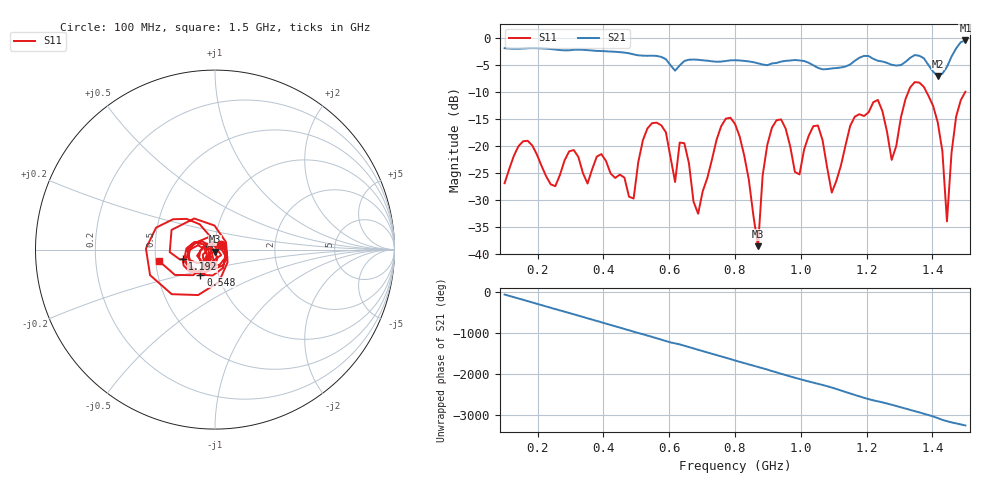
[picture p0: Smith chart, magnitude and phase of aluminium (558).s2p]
! NanoVNA-App
! Date: 2025-09-25 14:59:37
! Start: 100MHz Stop: 1,5GHz Points: 101
! S-Parameter data: F S11 S21 S12 S22
# Hz S RI R 50
!  Frequency  S11_Real  S11_Imag  S21_Real  S21_Imag  S12_Real  S12_Imag  S22_Real  S22_Imag
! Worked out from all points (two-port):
!   101 points, 100 MHz to 1.5 GHz, reference 50 ohm
!   highest |S21| = -0.49 dB at 1.5 GHz (marker M1); lowest = -7.1 dB at 1.416 GHz (marker M2)
!   |S21| within 3 dB of the highest: start of sweep to 572.1 MHz; 1.458 GHz to end of sweep (the widest 2 of 4)
!   lowest |S11| = -38.6 dB at 870 MHz (marker M3), VSWR 1.02, Z = 50.2 - j1.16 ohm
!   |S11| at or under -10 dB: start of sweep to 1.327 GHz; 1.381 GHz to 1.5 GHz (118.6 MHz wide, 8.23 % of centre)
!   S12 and S22 are empty: the file has one direction only
!   S11 on the Smith chart (normalised r, x): 100 MHz: 1.07, +0.06; 548 MHz: 0.82, -0.24; 1.192 GHz: 0.69, -0.08; 1.5 GHz: 0.52, -0.08
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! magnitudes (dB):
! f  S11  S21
! 100 MHz  -27.0  -1.9
! 156 MHz  -19.2  -2.0
! 338 MHz  -25.1  -2.2
! 492 MHz  -29.8  -3.1
! 548 MHz  -15.8  -3.3
! 576 MHz  -16.2  -3.5
! 646 MHz  -19.5  -4.3
! 688 MHz  -32.6  -4.1
! 800 MHz  -16.0  -4.1
! 870 MHz  -38.6  -4.7
! 912 MHz  -16.7  -4.8
! 996 MHz  -25.3  -4.2
! 1.038 GHz  -16.4  -5.1
! 1.094 GHz  -28.7  -5.7
! 1.192 GHz  -14.5  -3.4
! 1.234 GHz  -11.5  -4.2
! 1.276 GHz  -22.6  -5.0
! 1.346 GHz  -8.2  -3.2
! 1.416 GHz  -15.7  -7.1
! 1.444 GHz  -34.0  -5.4
! 1.472 GHz  -14.6  -1.9
! 1.5 GHz  -10.0  -0.5
